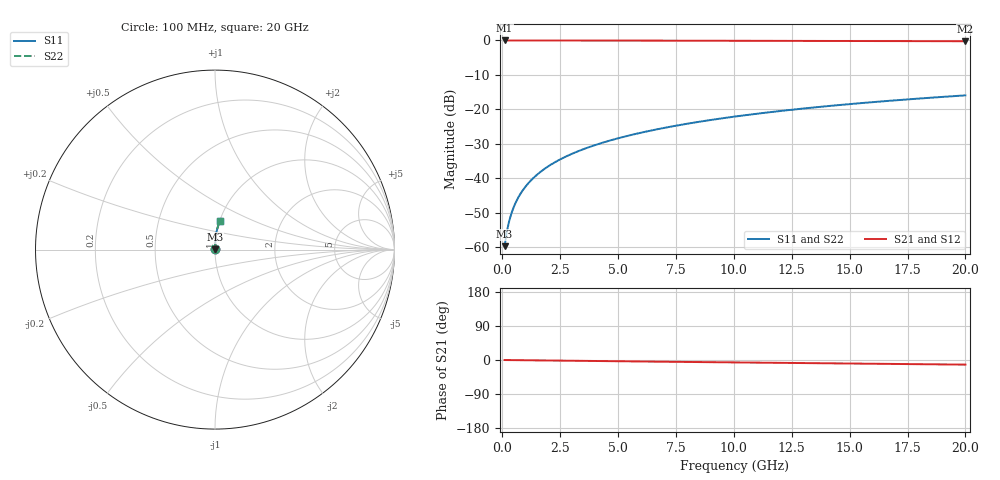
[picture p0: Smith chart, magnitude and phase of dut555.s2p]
! Touchstone file exported from HFSS 2024.1.0
!  File:  C:/UserFiles/LocalFiles/RDL_TSV_Batchsim/temp_RDL_top_555_1779681088.aedt
!  Generated:  11:53:39 AM May 25, 2026
!  Design:  RDL_top
!  Project:  temp_RDL_top_555_1779681088
!  Setup:  Setup1
!  Solution:  Sweep
! Variables:
!  dtsv = 10.80580581um
!  hbump = 3um
!  htsv = 83.27um
!  ldown = 100um
!  lrdl = 113.3um
!  p = 40
!  p1 = 59.33um
!  rhole = 1um
!  t = 450um
!  tdown = 3.915915916um
!  trdl = 4.19um
!  wdown = 15.38538539um
!  wrdl = 18.85um
# GHz S MA R 50.000000
! Terminal data exported
! Port[1] = Box2_T1
! Port[2] = Box2_T2
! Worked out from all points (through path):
!   200 points, 100 MHz to 20 GHz, reference 50 ohm
!   highest |S21| = -0.01 dB at 100 MHz (marker M1); lowest = -0.2 dB at 20 GHz (marker M2)
!   group delay of S21, straight-line fit = 1.68 ps
!   lowest |S11| = -59.7 dB at 100 MHz (marker M3), VSWR 1.00, Z = 50.1 + j0.0784 ohm
!   |S11| at or under -10 dB: start of sweep to end of sweep
!   |S22| runs from -59.7 to -15.9 dB; largest |S21 - S12| = 6.4e-15
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0.1  0.001037 49.1  0.9993 -0.1  0.9993 -0.1  0.001037 49.1
! Gamma 0 0 0 0
! Port Impedance 50 0 50 0
0.2  0.001705 65.6  0.9993 -0.1  0.9993 -0.1  0.001705 65.6
0.3  0.00242 72.5  0.9993 -0.2  0.9993 -0.2  0.00242 72.5
0.4  0.003145 76.3  0.9992 -0.3  0.9992 -0.3  0.003145 76.3
0.5  0.003874 78.7  0.9992 -0.3  0.9992 -0.3  0.003874 78.7
0.7  0.005342 81.6  0.9991 -0.5  0.9991 -0.5  0.005342 81.6
0.8  0.00608 82.6  0.9991 -0.5  0.9991 -0.5  0.00608 82.6
1  0.007561 84.0  0.999 -0.7  0.999 -0.7  0.007561 84.0
1.2  0.009049 84.9  0.999 -0.8  0.999 -0.8  0.009049 84.9
1.4  0.01054 85.6  0.9989 -0.9  0.9989 -0.9  0.01054 85.6
1.7  0.01279 86.4  0.9987 -1.2  0.9987 -1.2  0.01279 86.4
2  0.01504 86.9  0.9985 -1.4  0.9985 -1.4  0.01504 86.9
2.7  0.02034 87.6  0.998 -1.8  0.998 -1.8  0.02034 87.6
3.5  0.02644 88.0  0.9973 -2.3  0.9973 -2.3  0.02644 88.0
4.2  0.03185 88.1  0.9965 -2.8  0.9965 -2.8  0.03185 88.1
5  0.03808 88.2  0.9956 -3.3  0.9956 -3.3  0.03808 88.2
6.8  0.05236 87.8  0.9932 -4.4  0.9932 -4.4  0.05236 87.8
8.3  0.06446 87.3  0.9912 -5.4  0.9912 -5.4  0.06446 87.3
10.1  0.07914 86.4  0.9887 -6.4  0.9887 -6.4  0.07914 86.4
13.4  0.1062 84.5  0.984 -8.4  0.984 -8.4  0.1062 84.5
16.7  0.1331 82.4  0.9791 -10.3  0.9791 -10.3  0.1331 82.4
20  0.1597 80.3  0.974 -12.2  0.974 -12.2  0.1597 80.3
